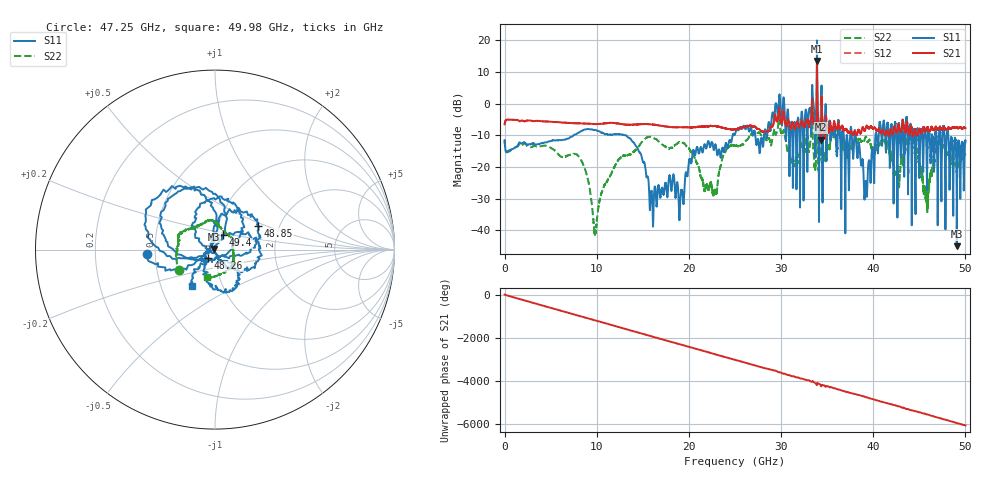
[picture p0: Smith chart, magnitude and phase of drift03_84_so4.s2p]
!Created with skrf (http://scikit-rf.org).
# Hz S RI R 50.0
!freq ReS11 ImS11 ReS21 ImS21 ReS12 ImS12 ReS22 ImS22
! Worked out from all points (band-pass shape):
!   10001 points, 300 kHz to 50 GHz, reference 50 ohm
!   highest |S21| = 13.47 dB at 33.9 GHz (marker M1); lowest = -11.3 dB at 34.32 GHz (marker M2)
!   |S21| within 3 dB of the highest: 33.89022 GHz to 33.9043 GHz (14.07 MHz wide, 0.0415 % of centre)
!   lowest |S11| = -45.1 dB at 49.07 GHz (marker M3), VSWR 1.01, Z = 49.6 + j0.405 ohm
!   |S11| at or under -10 dB: start of sweep to 7.487 GHz; 13.13 GHz to 24.74 GHz (11.61 GHz wide, 61.3 % of centre); 38.09 GHz to 40.24 GHz (2.15 GHz wide, 5.49 % of centre) (the widest 3 of 49)
!   |S22| runs from -41.5 to 5.9 dB; largest |S21 - S12| = 0.34
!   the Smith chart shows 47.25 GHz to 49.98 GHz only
!   S11 on the Smith chart (normalised r, x): 47.25 GHz: 0.45, -0.02; 48.26 GHz: 0.92, -0.09; 48.85 GHz: 1.56, +0.45; 49.4 GHz: 1.08, +0.17; 49.98 GHz: 0.72, -0.31
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300000  -0.2355 -0.1205  0.4651 0.0788  0.4648 0.0794  -0.2346 -0.1251
1.440291e9  0.2102 0.065  -0.5482 -0.0298  -0.5481 -0.0297  0.2114 -0.00354
2.915283e9  -0.2123 -0.0881  0.5343 0.0521  0.5346 0.0521  -0.202 0.0401
4.415274e9  0.2055 0.1326  -0.5221 -0.0431  -0.522 -0.0431  0.1989 -0.0871
8.33525e9  0.2891 -0.2332  0.1453 0.4668  0.1448 0.4671  -0.0724 -0.1021
9.840241e9  -0.3652 0.1249  -0.1423 -0.4542  -0.1421 -0.4547  0.00868 0.00214
1.66702e10  0.0269 0.0433  -0.38 0.2522  -0.3802 0.2516  -0.1287 -0.2213
2.500015e10  -0.3267 -0.0169  -0.2542 -0.2987  -0.2524 -0.301  -0.213 0.026
2.895513e10  -0.3279 0.4299  -0.29 0.324  -0.3012 0.2887  0.0642 0.2226
3.006512e10  0.4024 0.2689  0.4526 -0.1939  0.4573 -0.1797  0.18 -0.2954
3.171011e10  -0.091 0.1884  -0.3634 0.3542  -0.3636 0.3513  0.0636 0.1583
3.33351e10  0.6268 -0.7831  0.2681 -0.833  0.269 -0.8167  -0.1791 -0.427
3.38951e10  -1.938 -9.808  -4.682 0.5551  -4.394 0.7378  0.3934 1.942
3.432009e10  -0.7773 -0.00211  -0.1832 0.1997  -0.2453 0.1789  0.1453 -0.0745
4.167005e10  -0.2111 0.3008  0.3144 0.00162  0.3147 0.0104  -0.196 -0.0112
4.724502e10  -0.3815 -0.0231  0.299 0.3103  0.2947 0.3142  -0.2021 -0.1138
4.826001e10  -0.0386 -0.0488  0.0893 -0.3964  0.0945 -0.3993  -0.0125 0.1605
4.884501e10  0.2406 0.1328  -0.3649 -0.2044  -0.3652 -0.2034  0.0983 0.0525
4.906501e10  -0.0038 0.00408  -0.4208 -0.0301  -0.4219 -0.0327  0.0962 0.0163
4.9395e10  0.0438 0.0792  -0.3436 0.2401  -0.3454 0.239  0.1045 -0.0623
4.998e10  -0.1281 -0.2023  0.1193 0.3963  0.1162 0.394  -0.0473 -0.1512
5e10  -0.1188 -0.2302  0.1394 0.386  0.1365 0.3867  -0.0521 -0.1478
